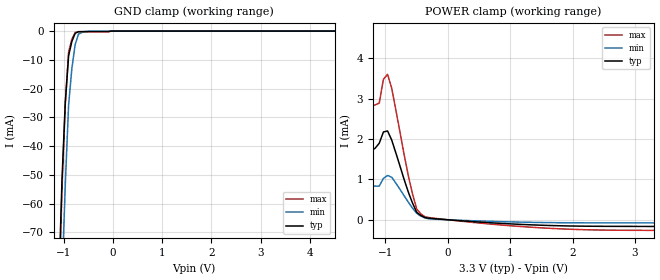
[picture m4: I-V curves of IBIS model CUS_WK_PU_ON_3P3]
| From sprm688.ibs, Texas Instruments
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|   Model Cell CUS_WK_PU_ON_3P3
|CUS_WK_PU_ON_3P3
[Model]   CUS_WK_PU_ON_3P3
Model_type   Input
Polarity   Non-Inverting
Vinl =  0.8
Vinh =  2
C_comp   2.12034p   1.0392p   2.53442p
[Model Spec]
Vinl   0.8   0.8   0.8
Vinh   2   2   2
[Temperature Range]   25   155   -40
[Voltage Range]   3.3   2.97   3.63
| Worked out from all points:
|   GND clamp passes 1 mA (typ) near -0.77 V on its own axis
|   POWER clamp passes 1 mA (typ) near -0.70 V on its own axis
| Nom Voltages:
|   BIASFET=3.3, VDD=1.2, VDDS=3.3, VSS=0
| Min Voltages:
|   BIASFET=2.97, VDD=1.08, VDDS=2.97, VSS=0
| Max Voltages:
|   BIASFET=3.63, VDD=1.32, VDDS=3.63, VSS=0
[POWER_clamp]
|   voltage   I(typ)   I(min)   I(max)
-3.3V     2.123mA    637.3mA    3.592mA
-2.167V   1.755mA    7.137mA    2.972mA
-2.1V     1.749mA    1.704mA    2.953mA
-1.967V   1.738mA    883.5uA    2.921mA
-1.167V   1.771mA    834.5uA    2.844mA
-1.1V     1.897mA    834.3uA    2.891mA
-1.033V   2.175mA    1.026mA    3.482mA
-966.7mV  2.2mA      1.099mA    3.603mA
-566.7mV  413.8uA    290uA      640.9uA
-500mV    187.7uA    161.3uA    268uA
-366.7mV  54.9uA     44.56uA    74.4uA
3.3V      -165.3uA   -77.84uA   -262.4uA
[GND_clamp]
|   voltage   I(typ)   I(min)   I(max)
-3.3V     -2.204A    -1.834A    -3.186A
-1.1V     -88.86mA   -124.4mA   -95.56mA
-1.033V   -51.39mA   -86.07mA   -54.53mA
-966.7mV  -24.62mA   -53.17mA   -25.11mA
-900mV    -8.575mA   -25.73mA   -7.315mA
-833.3mV  -3.567mA   -12.91mA   -2.804mA
-766.7mV  -776.7uA   -4.697mA   -455.7uA
-700mV    -205.1uA   -1.081mA   -268.8uA
-566.7mV  -167.2uA   -156.8uA   -264.7uA
-500mV    -166.3uA   -89.09uA   -264.6uA
-33.33mV  0A         0A         0A
6.6V      0A         0A         0A
